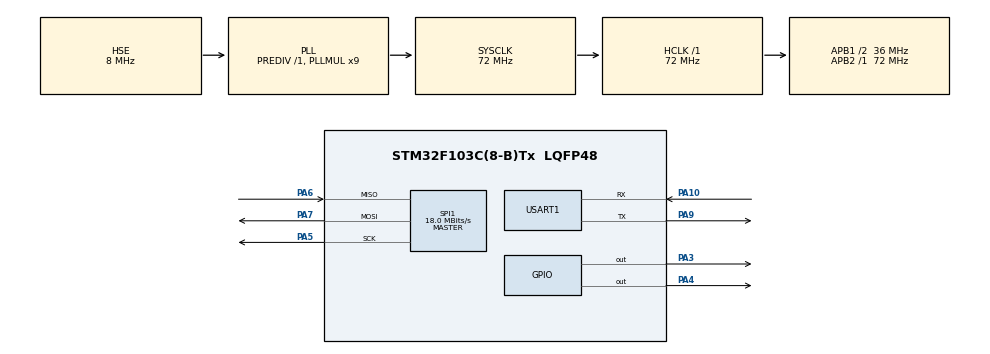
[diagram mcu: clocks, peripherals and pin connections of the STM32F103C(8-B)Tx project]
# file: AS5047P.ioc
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Mcu.Family=STM32F1
Mcu.Name=STM32F103C(8-B)Tx
Mcu.Package=LQFP48
NVIC.PriorityGroup=NVIC_PRIORITYGROUP_4
PA10.Mode=Asynchronous
PA10.Signal=USART1_RX
PA13.Mode=Serial_Wire
PA13.Signal=SYS_JTMS-SWDIO
PA14.Mode=Serial_Wire
PA14.Signal=SYS_JTCK-SWCLK
PA3.Signal=GPIO_Output
PA4.PinState=GPIO_PIN_SET
PA4.Signal=GPIO_Output
PA5.Mode=Full_Duplex_Master
PA5.Signal=SPI1_SCK
PA6.Mode=Full_Duplex_Master
PA6.Signal=SPI1_MISO
PA7.Mode=Full_Duplex_Master
PA7.Signal=SPI1_MOSI
PA9.Mode=Asynchronous
PA9.Signal=USART1_TX
PD0-OSC_IN.Mode=HSE-External-Oscillator
PD0-OSC_IN.Signal=RCC_OSC_IN
PD1-OSC_OUT.Mode=HSE-External-Oscillator
PD1-OSC_OUT.Signal=RCC_OSC_OUT
ProjectManager.HeapSize=0x200
ProjectManager.StackSize=0x400
ProjectManager.TargetToolchain=MDK-ARM V5
RCC.AHBFreq_Value=72000000
RCC.APB1CLKDivider=RCC_HCLK_DIV2
RCC.APB1Freq_Value=36000000
RCC.APB1TimFreq_Value=72000000
RCC.APB2Freq_Value=72000000
RCC.APB2TimFreq_Value=72000000
RCC.HCLKFreq_Value=72000000
RCC.PLLMUL=RCC_PLL_MUL9
RCC.PLLSourceVirtual=RCC_PLLSOURCE_HSE
RCC.SYSCLKFreq_VALUE=72000000
RCC.SYSCLKSource=RCC_SYSCLKSOURCE_PLLCLK
RCC.USBFreq_Value=72000000
SPI1.BaudRatePrescaler=SPI_BAUDRATEPRESCALER_4
SPI1.CLKPhase=SPI_PHASE_2EDGE
SPI1.CalculateBaudRate=18.0 MBits/s
SPI1.DataSize=SPI_DATASIZE_16BIT
SPI1.Direction=SPI_DIRECTION_2LINES
SPI1.Mode=SPI_MODE_MASTER
SPI1.VirtualType=VM_MASTER
USART1.VirtualMode=VM_ASYNC
board=custom

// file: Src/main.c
/* USER CODE BEGIN Header */
/**
  ******************************************************************************
  * @file           : main.c
  * @brief          : Main program body
  ******************************************************************************
  * @attention
  *
  * <h2><center>&copy; Copyright (c) 2019 STMicroelectronics.
  * All rights reserved.</center></h2>
  *
  * This software component is licensed by ST under BSD 3-Clause license,
  * the "License"; You may not use this file except in compliance with the
  * License. You may obtain a copy of the License at:
  *                        opensource.org/licenses/BSD-3-Clause
  *
  ******************************************************************************
  */
/* USER CODE END Header */

#include "main.h"
#include "spi.h"
#include "usart.h"
#include "gpio.h"

/* USER CODE BEGIN Includes */
#include "AS5047P.h"
/* USER CODE END Includes */

void SystemClock_Config(void);

/* USER CODE BEGIN 0 */
uint16_t angle[2];
uint8_t buf[6];
int time=0;
/* USER CODE END 0 */

int main(void)
{

  /* MCU Configuration--------------------------------------------------------*/

  /* Reset of all peripherals, Initializes the Flash interface and the Systick. */
  HAL_Init();

  /* Configure the system clock */
  SystemClock_Config();

  /* Initialize all configured peripherals */
  MX_GPIO_Init();
  MX_SPI1_Init();
  MX_USART1_UART_Init();
  /* USER CODE BEGIN 2 */

	AS5047_Init();
//	AS5047_SetZeroPosition();
//	AS5047_ReadData(ANGLECOM_AS5047P_VOL_REG_ADD);
  /* USER CODE END 2 */

  /* Infinite loop */
  /* USER CODE BEGIN WHILE */
  while (1)
  {
    angle[0]= AS5047_ReadData(0,ANGLEUNC_AS5047P_VOL_REG_ADD);//AS5047_ReadSPI(0);
    angle[1]= AS5047_ReadData(1,ANGLECOM_AS5047P_VOL_REG_ADD);//AS5047_ReadSPI(1);

    buf[0]='a';
    buf[1]= angle[0];
    buf[2]= angle[0]>>8;
    buf[3]= angle[1];
    buf[4]= angle[1]>>8;
    buf[5]='g';
		++time;
    HAL_Delay(1);
    HAL_UART_Transmit(&huart1,buf,sizeof(buf),100);

    /* USER CODE END WHILE */

  }
}

void SystemClock_Config(void)
{
  RCC_OscInitTypeDef RCC_OscInitStruct = {0};
  RCC_ClkInitTypeDef RCC_ClkInitStruct = {0};

  /** Initializes the CPU, AHB and APB busses clocks
  */
  RCC_OscInitStruct.OscillatorType = RCC_OSCILLATORTYPE_HSE;
  RCC_OscInitStruct.HSEState = RCC_HSE_ON;
  RCC_OscInitStruct.HSEPredivValue = RCC_HSE_PREDIV_DIV1;
  RCC_OscInitStruct.HSIState = RCC_HSI_ON;
  RCC_OscInitStruct.PLL.PLLState = RCC_PLL_ON;
  RCC_OscInitStruct.PLL.PLLSource = RCC_PLLSOURCE_HSE;
  RCC_OscInitStruct.PLL.PLLMUL = RCC_PLL_MUL9;
  if (HAL_RCC_OscConfig(&RCC_OscInitStruct) != HAL_OK)
  {
    Error_Handler();
  }
  /** Initializes the CPU, AHB and APB busses clocks
  */
  RCC_ClkInitStruct.ClockType = RCC_CLOCKTYPE_HCLK|RCC_CLOCKTYPE_SYSCLK
                              |RCC_CLOCKTYPE_PCLK1|RCC_CLOCKTYPE_PCLK2;
  RCC_ClkInitStruct.SYSCLKSource = RCC_SYSCLKSOURCE_PLLCLK;
  RCC_ClkInitStruct.AHBCLKDivider = RCC_SYSCLK_DIV1;
  RCC_ClkInitStruct.APB1CLKDivider = RCC_HCLK_DIV2;
  RCC_ClkInitStruct.APB2CLKDivider = RCC_HCLK_DIV1;

  if (HAL_RCC_ClockConfig(&RCC_ClkInitStruct, FLASH_LATENCY_2) != HAL_OK)
  {
    Error_Handler();
  }
}

void Error_Handler(void)
{
}

/************************ (C) COPYRIGHT STMicroelectronics *****END OF FILE****/
